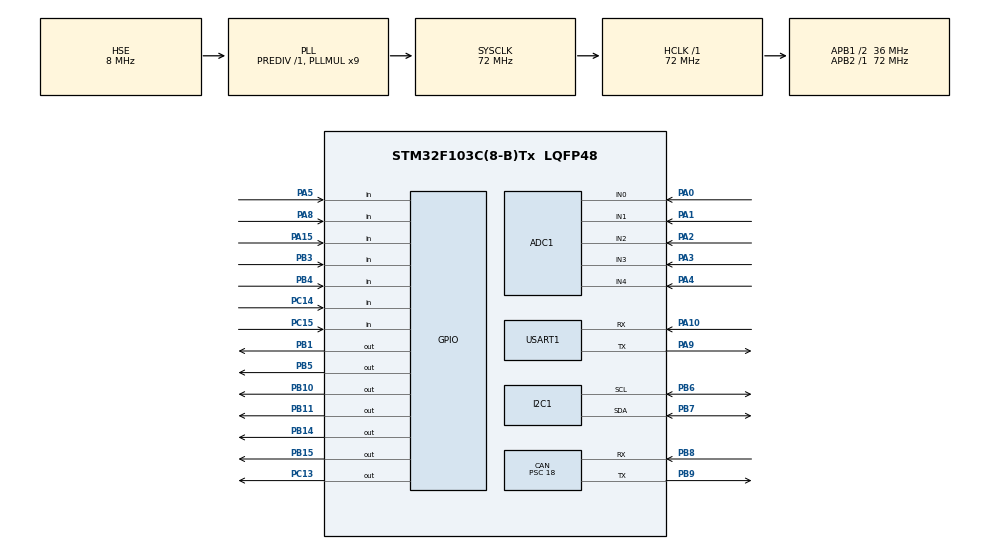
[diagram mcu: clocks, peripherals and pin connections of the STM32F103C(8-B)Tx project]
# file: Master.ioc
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ADC1.NbrOfConversionFlag=1
ADC1.master=1
CAN.ABOM=ENABLE
CAN.BS1=CAN_BS1_13TQ
CAN.BS2=CAN_BS2_2TQ
CAN.CalculateBaudRate=125000
CAN.CalculateTimeBit=8000
CAN.CalculateTimeQuantum=500.0
CAN.NART=ENABLE
CAN.Prescaler=18
CAN.TXFP=DISABLE
Mcu.Family=STM32F1
Mcu.Name=STM32F103C(8-B)Tx
Mcu.Package=LQFP48
NVIC.PriorityGroup=NVIC_PRIORITYGROUP_4
NVIC.USART1_IRQn=true\:0\:0\:false\:false\:true\:true\:true\:true
NVIC.USB_LP_CAN1_RX0_IRQn=true\:0\:0\:false\:false\:true\:true\:true\:true
PA0-WKUP.Signal=ADCx_IN0
PA1.Signal=ADCx_IN1
PA10.Mode=Asynchronous
PA10.Signal=USART1_RX
PA13.Mode=Serial_Wire
PA13.Signal=SYS_JTMS-SWDIO
PA14.Mode=Serial_Wire
PA14.Signal=SYS_JTCK-SWCLK
PA15.GPIO_PuPd=GPIO_PULLUP
PA15.Signal=GPIO_Input
PA2.Signal=ADCx_IN2
PA3.Signal=ADCx_IN3
PA4.Signal=ADCx_IN4
PA5.GPIO_PuPd=GPIO_PULLUP
PA5.Signal=GPIO_Input
PA8.GPIO_PuPd=GPIO_PULLUP
PA8.Signal=GPIO_Input
PA9.Mode=Asynchronous
PA9.Signal=USART1_TX
PB1.Signal=GPIO_Output
PB10.Signal=GPIO_Output
PB11.Signal=GPIO_Output
PB14.Signal=GPIO_Output
PB15.Signal=GPIO_Output
PB3.GPIO_PuPd=GPIO_PULLUP
PB3.Signal=GPIO_Input
PB4.GPIO_PuPd=GPIO_PULLUP
PB4.Signal=GPIO_Input
PB5.Signal=GPIO_Output
PB6.Mode=I2C
PB6.Signal=I2C1_SCL
PB7.Mode=I2C
PB7.Signal=I2C1_SDA
PB8.Mode=CAN_Activate
PB8.Signal=CAN_RX
PB9.Mode=CAN_Activate
PB9.Signal=CAN_TX
PC13-TAMPER-RTC.Signal=GPIO_Output
PC14-OSC32_IN.GPIO_PuPd=GPIO_PULLUP
PC14-OSC32_IN.Signal=GPIO_Input
PC15-OSC32_OUT.GPIO_PuPd=GPIO_PULLUP
PC15-OSC32_OUT.Signal=GPIO_Input
PD0-OSC_IN.Mode=HSE-External-Oscillator
PD0-OSC_IN.Signal=RCC_OSC_IN
PD1-OSC_OUT.Mode=HSE-External-Oscillator
PD1-OSC_OUT.Signal=RCC_OSC_OUT
ProjectManager.HeapSize=0x200
ProjectManager.StackSize=0x400
ProjectManager.TargetToolchain=MDK-ARM V5.32
RCC.ADCPresc=RCC_ADCPCLK2_DIV6
RCC.AHBFreq_Value=72000000
RCC.APB1CLKDivider=RCC_HCLK_DIV2
RCC.APB1Freq_Value=36000000
RCC.APB1TimFreq_Value=72000000
RCC.APB2Freq_Value=72000000
RCC.APB2TimFreq_Value=72000000
RCC.HCLKFreq_Value=72000000
RCC.PLLMUL=RCC_PLL_MUL9
RCC.PLLSourceVirtual=RCC_PLLSOURCE_HSE
RCC.SYSCLKFreq_VALUE=72000000
RCC.SYSCLKSource=RCC_SYSCLKSOURCE_PLLCLK
RCC.USBFreq_Value=72000000
SH.ADCx_IN0.0=ADC1_IN0,IN0
SH.ADCx_IN1.0=ADC1_IN1,IN1
SH.ADCx_IN2.0=ADC1_IN2,IN2
SH.ADCx_IN3.0=ADC1_IN3,IN3
SH.ADCx_IN4.0=ADC1_IN4,IN4
USART1.VirtualMode=VM_ASYNC
board=custom

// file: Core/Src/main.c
/* USER CODE BEGIN Header */
/** LE THANH PHAT
  ******************************************************************************
  * @file           : main.c
  * @brief          : Main program body
  ******************************************************************************
  * @attention
  *
  * Copyright (c) 2026 STMicroelectronics.
  * All rights reserved.
  *
  * This software is licensed under terms that can be found in the LICENSE file
  * in the root directory of this software component.
  * If no LICENSE file comes with this software, it is provided AS-IS.
  *
  ******************************************************************************
  */
/* USER CODE END Header */
#include "main.h"

/* USER CODE BEGIN Includes */
#include "i2c-lcd.h"
#include "stdint.h"
#include "stdio.h"
#include <stdbool.h>
/* USER CODE END Includes */

/* USER CODE BEGIN PD */

#define FAN_TEMP_ON_THRESHOLD  27.5f
#define Fan_Control_Pin        GPIO_PIN_5
#define Fan_Control_GPIO_Port  GPIOB

/* Buzzer on PB15: 1 Hz (500 ms ON / 500 ms OFF), 5 cycles per alarm. */
#define BUZZER_GPIO_PIN         GPIO_PIN_15
#define BUZZER_GPIO_PORT        GPIOB
#define BUZZER_ACTIVE_HIGH      1U
#define BUZZER_ON_MS            500U
#define BUZZER_OFF_MS           500U
#define BUZZER_CYCLE_MS         (BUZZER_ON_MS + BUZZER_OFF_MS)
#define BUZZER_REPEAT_COUNT     5U
#define BUZZER_SEQUENCE_MS      (BUZZER_CYCLE_MS * BUZZER_REPEAT_COUNT)

#define SAFETY_ALARM_DISCHARGE  (1U << 0)
#define SAFETY_ALARM_CHARGE_CUT (1U << 1)

#define CAN_ID_SLAVE1_TX        0x101U
#define CAN_ID_SLAVE2_TX        0x102U
#define CAN_ID_SLAVE3_TX        0x103U
#define CAN_ID_SLAVE1_RX        0x200U
#define CAN_ID_SLAVE2_RX        0x201U
#define CAN_ID_SLAVE3_RX        0x202U

#define MASTER_SLAVE_COUNT      3U

/* Masks for packed CAN fields (used by CAN_UnpackData)
 * CELL_MASK: 9 bits (0..8)
 * TEMP_MASK: 8 bits
 * MOS_MASK : 5 bits
 */
#define CELL_MASK 0x1FFULL
#define TEMP_MASK 0xFFULL
#define MOS_MASK  0x1FULL

/* Telemetry constants to avoid magic numbers */
#define TELEMETRY_BUF_SIZE 200
#define TOTAL_CELLS_COUNT TOTAL_CELLS

/* Current sensor removed */
/* ADC helpers for debug */
#define ADC_MAX_VALUE 4095U
#define VREF_MV 3300U
/* Current sensor constants (WCS1700) */
#define CURRENT_SENSOR_SENS_V_PER_A 0.02376f
#define CURRENT_SENSOR_ZERO_DEFAULT_MV (VREF_MV / 2U)
#define CURRENT_SENSOR_DEADBAND_A 0.1f
#define CURRENT_ADC_INDEX 4
#define CURRENT_CALIB_SAMPLES 500
/* Fast setting filter: one update every main-loop cycle, approximately 80 ms time constant. */
#define SETTINGS_FILTER_SHIFT 3U
#define SETTINGS_DEADBAND_ADC 2U
#define CELL_FILTER_SHIFT     2U

/* Setting output ranges */
#define ICHG_MAX_MA 11000U
#define VDIS_MAX_MV 4200U
#define VCHG_MAX_MV 4300U
#define IDIS_MAX_MA 41000U

/* SOC estimation constants (per-cell OCV linear mapping) */
#define SOC_OCV_MIN_MV_PER_CELL 3000U
#define SOC_OCV_MAX_MV_PER_CELL 4200U

typedef struct {
	uint8_t ButtonLeft;
	uint8_t ButtonRight;
	uint8_t SW_UART;
	uint8_t SW_Balancing;
	uint8_t SW_LCDMode;
	uint8_t SW_Load;
	uint8_t CurrentDigital;
	uint8_t ChargeState;
} DigitalInput;

typedef struct {
	uint16_t Raw_I_Discharge_Max;
	uint16_t Raw_V_Discharge_Min;
	uint16_t Raw_I_Charge_Max;
	uint16_t Raw_V_Charge_Max;
} AnalogInput;

typedef enum {
	LCD_PAGE_1 = 0,
	LCD_PAGE_2,
	LCD_PAGE_3,
	LCD_PAGE_4,
	LCD_PAGE_MAX
} LCD_Page_t;

uint8_t lcd_page = 0;
uint8_t lcd_update_flag = 1;

uint8_t Button_Left_Old = 0;
uint8_t Button_Right_Old = 0;

typedef enum {
    PRECHARGE_IDLE,
    PRECHARGE_ACTIVE,
    PRECHARGE_DONE
} PrechargeState_t;

/* Consolidated per-slave telemetry received over CAN (Frame A + Frame B) */
typedef struct {
	uint16_t cell_voltage_mV[5];   /* 5 cells in mV */
	int16_t  temperature_tenths;   /* temperature x10 (e.g. 253 = 25.3 C) */
	uint8_t  mosfet_mask;          /* 5-bit balance MOSFET status */
	uint8_t  sequence;             /* frame sequence from slave */
	uint32_t last_rx_tick;         /* HAL_GetTick() of last complete update */
	bool     data_valid;           /* true when both frames received */
	uint32_t frame_a_count;        /* Frame A received count */
	uint32_t frame_b_count;        /* Frame B received count */
} SlaveData_t;

/* USER CODE END PD */

ADC_HandleTypeDef hadc1;
DMA_HandleTypeDef hdma_adc1;

CAN_HandleTypeDef hcan;

I2C_HandleTypeDef hi2c1;

UART_HandleTypeDef huart1;

/* USER CODE BEGIN PV */

volatile uint8_t    slave_connected[3] = {0};
volatile uint8_t    new_can_data       =  0;
CAN_TxHeaderTypeDef TxHeader_Bal;
uint32_t            TxMailbox_Bal;
uint8_t             TxData_Bal[8]      = {0};

uint16_t ADC_RawData[5];
DigitalInput Digital_In;
/* Debug variables for current sensor ADC (PA4) */
volatile uint16_t debug_current_adc_raw = 0;
/* Averaged measured millivolts for PA4 (signed to allow offset corrections) */
volatile int32_t debug_current_adc_mv = 0;

/* Computed zero (mV) for current sensor; can be updated by auto-calibration */
volatile int32_t current_zero_mv = CURRENT_SENSOR_ZERO_DEFAULT_MV;

/* Filtered ADC values for user-adjustable settings (0..ADC_MAX_VALUE). */
static uint16_t filtered_adc_ichg = 0;
static uint16_t filtered_adc_vdis = 0;
static uint16_t filtered_adc_vchg = 0;
static uint16_t filtered_adc_idis = 0;
static uint8_t settings_filter_initialized = 0u;

/* Runtime adjustable millivolt offset to match a reference measurement.
 * Default computed from a recent bench measurement: actual 1509mV vs measured 1451mV -> +58mV
 * Keep as adjustable `volatile` so you can change it from the debugger at runtime.
 */
#define DEFAULT_CURRENT_ADC_MV_OFFSET ((int32_t)1509 - (int32_t)1451)
volatile int32_t debug_current_adc_mv_offset = DEFAULT_CURRENT_ADC_MV_OFFSET;
AnalogInput Analog_In;

#define TOTAL_CELLS 15

uint16_t all_cell_voltage_mV[TOTAL_CELLS] = {0};
static uint8_t cell_filter_initialized[TOTAL_CELLS] = {0};
volatile bool safety_fault = false;

CAN_FilterTypeDef sFilterConfig;

char uart_tx_debug_buf[200];
volatile uint16_t uart_tx_debug_len = 0;

volatile float    slave_temp[3]        = {0};
volatile float    temperature_max      = 0.0f;
volatile int16_t  temperature_max_tenths = 0;
volatile uint8_t  rx_mosfet_status[15] = {0};
volatile uint32_t master_rx_count      = 0;
volatile uint8_t  master_rx_slave1     = 0;
volatile uint8_t  master_rx_slave2     = 0;
volatile uint8_t  master_rx_slave3     = 0;

CAN_TxHeaderTypeDef TxHeader_Cmd;
uint32_t            TxMailbox_Cmd;
uint8_t             TxData_Cmd[8]      = {0};

volatile uint32_t slave_last_tick[3] = {0};
#define SLAVE_TIMEOUT_MS 500

/* PC13 LED blink period in ms, set by the main loop from slave connectivity
 * (100 = two slaves, 500 = one slave, 0 = solid on). Read by the CAN RX ISR. */
volatile uint32_t led_period_ms = 100U;

/* Last PC13 toggle tick and the period used at that time, shared between the
 * CAN RX ISR (blink) and LED_Status_Update() (period selection). */
volatile uint32_t led_last_toggle_tick = 0;
volatile uint32_t led_last_period_ms   = 0;

/* Last computed current (tenths of A). Inspect this in debugger for final value. */
/* Current sensor removed: no runtime variables */

/* Temporary buffers to assemble 2-frame CAN messages per slave */
volatile uint8_t got_frameA[3] = {0};
volatile uint8_t got_frameB[3] = {0};
uint16_t tmp_frameA_cells[3][4];
uint16_t tmp_frameB_cell5[3];
int16_t  tmp_frameB_temp_tenths[3];
uint8_t  tmp_frameB_mask[3];

#define CELL_VALID_MIN_MV 500U
#define CELL_VALID_MAX_MV 5000U
#define BALANCE_START_DELTA_MV 20U
#define BALANCE_STOP_DELTA_MV 3U

/* CAN diagnostics */
volatile uint32_t master_can_error            = 0;
volatile uint32_t master_tx_count             = 0;
volatile uint32_t master_rx_fifo0_count       = 0;
volatile uint32_t master_error_callback_count = 0;

/* Consolidated per-slave data: [0]=Slave1 (0x101), [1]=Slave2 (0x102) */
SlaveData_t slave_data[2] = {0};

/* USER CODE END PV */

void SystemClock_Config(void);
static void MX_GPIO_Init(void);
static void MX_DMA_Init(void);
static void MX_ADC1_Init(void);
static void MX_CAN_Init(void);
static void MX_I2C1_Init(void);
static void MX_USART1_UART_Init(void);
/* USER CODE BEGIN PFP */

/* Current sensor debug calculation: read ADC at PA4 and compute mV */
void Current_Sensor_Calc(void);

/* Calibration helpers: set offset directly or calibrate using an observed reference mV */
void Set_Current_ADC_MV_Offset(int32_t offset_mv);
void Calibrate_Current_ADC_MV(uint32_t actual_mv);

/* Current sensor API */
float CurrentSensor_GetAmps(void);
int32_t CurrentSensor_Get_mA(void);
void CurrentSensor_AutoCalibrate(void);

/* Safety control for charge/discharge based on settings and measurements */
uint8_t Safety_Control(void);
void Buzzer_Update(bool alarm_active);

void Master_Balance_Control(void);

static void Update_Temperature_Max(void);
static void LCD_WriteLine(uint8_t ddram_addr, const char *text);
static void Update_Cell_Voltage_Filter(uint8_t cell_index, uint16_t sample_mV);

void Check_Slave_Timeout(void);
void LED_Status_Update(void);
void Read_Digital_Input (void);
void Read_Analog_Input (void);
void Button_Handle (void);
void Send_Cells_UART(void);

uint16_t map(uint16_t x, uint16_t in_min, uint16_t in_max, uint16_t out_min, uint16_t out_max);

void LCD_Page1 (void);
void LCD_Page2 (void);
void LCD_Page3 (void);
void LCD_Page4 (void);
void LCD_PageSetting (void);
void LCD_Update(void);
void Precharge_Handle(void);
void Fan_Control(void);

/* SOC estimation API: returns tenths of percent (0..1000) */
uint16_t Compute_SOC_TenthsPercent(void);

/* USER CODE END PFP */

/* USER CODE BEGIN 0 */

/*
 * CAN_UnpackData: unpack an 8-byte little-endian CAN payload into typed fields.
 * - rebuilds a uint64_t 'frame' from data[0]..data[7] (little-endian: data[0] = LSB)
 * - uses shifts and masks to extract each field according to the bit layout
 * - scales cell values back to millivolts (stored unit = 10mV)
 */
void CAN_UnpackData(uint8_t data[8],
                    uint16_t *c1, uint16_t *c2, uint16_t *c3,
                    uint16_t *c4, uint16_t *c5,
                    uint8_t *temp, uint8_t *mosfet)
{
  // Rebuild 64-bit frame from little-endian byte array.
  // data[0] is least-significant byte so shift by (8*i).
  uint64_t frame = 0ULL;
  for (int i = 0; i < 8; ++i) {
    frame |= ((uint64_t)data[i]) << (8 * i);
  }

  // Extract fields using masks and shifts. Masks limit the number of bits
  // taken for each field (prevent contamination from neighbor bits).
  // CELL_MASK (0x1FF) -> 9 bits, TEMP_MASK (0xFF) -> 8 bits, MOS_MASK (0x1F) -> 5 bits
  uint64_t s1 = (frame >> 0)  & CELL_MASK; // C1: bits 0-8
  uint64_t s2 = (frame >> 9)  & CELL_MASK; // C2: bits 9-17
  uint64_t s3 = (frame >> 18) & CELL_MASK; // C3: bits 18-26
  uint64_t s4 = (frame >> 27) & CELL_MASK; // C4: bits 27-35
  uint64_t s5 = (frame >> 36) & CELL_MASK; // C5: bits 36-44
  uint64_t st = (frame >> 45) & TEMP_MASK; // Temp: bits 45-52 (8 bits)
  uint64_t sm = (frame >> 53) & MOS_MASK;  // MOSFET: bits 53-57 (5 bits)

  // Scale back: transmitter stored cell voltages in units of 10mV
  // so multiply by 10 to get mV. Use casts and guards against NULL pointers.
  if (c1) *c1 = (uint16_t)(s1 * 10ULL);
  if (c2) *c2 = (uint16_t)(s2 * 10ULL);
  if (c3) *c3 = (uint16_t)(s3 * 10ULL);
  if (c4) *c4 = (uint16_t)(s4 * 10ULL);
  if (c5) *c5 = (uint16_t)(s5 * 10ULL);

  if (temp)   *temp   = (uint8_t)st; // temp is already 8-bit
  if (mosfet) *mosfet = (uint8_t)sm; // mosfet is 5-bit value stored in LSBs
}

/**
 * Example: receive handler for HAL CAN FIFO0 pending message.
 * This shows how to call CAN_UnpackData when a frame arrives.
 */

uint16_t rx_cell_voltage[5];

static void Update_Temperature_Max(void)
{
  float max_temp = slave_temp[0];

  for (uint8_t s = 1U; s < MASTER_SLAVE_COUNT; ++s) {
    if (slave_temp[s] > max_temp) {
      max_temp = slave_temp[s];
    }
  }

  temperature_max = max_temp;
  if (max_temp >= 0.0f) {
    temperature_max_tenths = (int16_t)(max_temp * 10.0f + 0.5f);
  } else {
    temperature_max_tenths = (int16_t)(max_temp * 10.0f - 0.5f);
  }
}

static void LCD_WriteLine(uint8_t ddram_addr, const char *text)
{
  char line[21];

  snprintf(line, sizeof(line), "%-20s", text);
  lcd_send_cmd(0x80 | ddram_addr);
  lcd_send_string(line);
}

static void Update_Cell_Voltage_Filter(uint8_t cell_index, uint16_t sample_mV)
{
  int32_t error;

  if (!cell_filter_initialized[cell_index]) {
    all_cell_voltage_mV[cell_index] = sample_mV;
    cell_filter_initialized[cell_index] = 1u;
    return;
  }

  error = (int32_t)sample_mV - (int32_t)all_cell_voltage_mV[cell_index];
  all_cell_voltage_mV[cell_index] = (uint16_t)((int32_t)all_cell_voltage_mV[cell_index] +
      (error >> CELL_FILTER_SHIFT));
}

void HAL_CAN_RxFifo0MsgPendingCallback(CAN_HandleTypeDef *hcan)
{
  CAN_RxHeaderTypeDef RxHeader;
  uint8_t RxData[8];

  if (HAL_CAN_GetRxMessage(hcan, CAN_RX_FIFO0, &RxHeader, RxData) != HAL_OK)
  {
    HAL_CAN_ActivateNotification(hcan, CAN_IT_RX_FIFO0_MSG_PENDING);
    return;
  }

  master_rx_fifo0_count++;
  master_can_error = HAL_CAN_GetError(hcan);

  uint8_t idx = 0xFFU;
  if      (RxHeader.StdId == CAN_ID_SLAVE1_TX) { idx = 0U; master_rx_slave1++; }
  else if (RxHeader.StdId == CAN_ID_SLAVE2_TX) { idx = 1U; master_rx_slave2++; }
  else if (RxHeader.StdId == CAN_ID_SLAVE3_TX) { idx = 2U; master_rx_slave3++; }
  else {
    HAL_CAN_ActivateNotification(hcan, CAN_IT_RX_FIFO0_MSG_PENDING);
    return;
  }

  /* Mark slave present and timestamp */
  slave_connected[idx] = 1;
  slave_last_tick[idx] = HAL_GetTick();
  master_rx_count++;

  uint8_t base = idx * 5;

  /* Distinguish the two-frame protocol using DLC */
  if (RxHeader.DLC == 8)
  {
    /* Frame A: four uint16_t cell voltages (little-endian) */
    uint16_t max_val = 0;
    for (int i = 0; i < 4; i++) {
      tmp_frameA_cells[idx][i] = (uint16_t)(RxData[2*i] | (RxData[2*i+1] << 8));
      if (tmp_frameA_cells[idx][i] > max_val) max_val = tmp_frameA_cells[idx][i];
    }
    for (int i = 0; i < 4; i++) {
      if (tmp_frameA_cells[idx][i] < CELL_VALID_MIN_MV ||
          tmp_frameA_cells[idx][i] > CELL_VALID_MAX_MV) {
        got_frameA[idx] = 0;
        HAL_CAN_ActivateNotification(hcan, CAN_IT_RX_FIFO0_MSG_PENDING);
        return;
      }
    }
    /* If values look 10x too large (e.g. 39990 instead of 3999), normalize */
    if (max_val > 15000) {
      for (int i = 0; i < 4; i++)
        tmp_frameA_cells[idx][i] = tmp_frameA_cells[idx][i] / 10;
    }
    if (idx < 2) {
      for (int i = 0; i < 4; i++)
        slave_data[idx].cell_voltage_mV[i] = tmp_frameA_cells[idx][i];
      slave_data[idx].frame_a_count++;
    }
    got_frameA[idx] = 1;
  }
  else
  {
    /* Frame B: cell5 (u16), temp in tenths (int16), mask (u8), seq (u8 optional)
     * Expected at least 5 bytes (we use first 6 if present)
     */
    tmp_frameB_cell5[idx] = (uint16_t)(RxData[0] | (RxData[1] << 8));
    tmp_frameB_temp_tenths[idx] = (int16_t)(RxData[2] | (RxData[3] << 8));
    tmp_frameB_mask[idx] = RxData[4];

    if (tmp_frameB_cell5[idx] < CELL_VALID_MIN_MV ||
        tmp_frameB_cell5[idx] > CELL_VALID_MAX_MV) {
      got_frameB[idx] = 0;
      HAL_CAN_ActivateNotification(hcan, CAN_IT_RX_FIFO0_MSG_PENDING);
      return;
    }

    /* Update per-cell mosfet status */
    for (int i = 0; i < 5; i++)
      rx_mosfet_status[base + i] = (tmp_frameB_mask[idx] >> i) & 0x01;

    /* If cell5 looks 10x too large, normalize it */
    if (tmp_frameB_cell5[idx] > 15000) tmp_frameB_cell5[idx] = tmp_frameB_cell5[idx] / 10;

    /* Store temperature as float degrees (tenths -> °C) */
    slave_temp[idx] = ((float)tmp_frameB_temp_tenths[idx]) / 10.0f;
    Update_Temperature_Max();
    if (idx < 2) {
      slave_data[idx].cell_voltage_mV[4] = tmp_frameB_cell5[idx];
      slave_data[idx].temperature_tenths = tmp_frameB_temp_tenths[idx];
      slave_data[idx].mosfet_mask        = tmp_frameB_mask[idx];
      slave_data[idx].sequence           = RxData[5];
      slave_data[idx].frame_b_count++;
    }
    got_frameB[idx] = 1;
  }

  /* If we've received both halves for this slave, assemble into final buffers */
  if (got_frameA[idx] && got_frameB[idx]) {
    if (idx < 2) {
      slave_data[idx].last_rx_tick = HAL_GetTick();
      slave_data[idx].data_valid = true;
    }
    for (int i = 0; i < 4; i++)
      Update_Cell_Voltage_Filter((uint8_t)(base + i), tmp_frameA_cells[idx][i]);
    Update_Cell_Voltage_Filter((uint8_t)(base + 4), tmp_frameB_cell5[idx]);

    /* reset assembly flags */
    got_frameA[idx] = 0;
    got_frameB[idx] = 0;

    /* indicate new complete data set */
    new_can_data = 1;

    /* Blink PC13 at led_period_ms (ISR-driven, so timing is independent of the
     * slow main loop). Runs on every complete frame pair while data flows. */
    uint32_t now_tick = HAL_GetTick();
    if (led_period_ms > 0U &&
        (now_tick - led_last_toggle_tick) >= led_period_ms) {
      HAL_GPIO_TogglePin(GPIOC, GPIO_PIN_13);
      led_last_toggle_tick = now_tick;
      led_last_period_ms    = led_period_ms;
    }
  }
  HAL_CAN_ActivateNotification(hcan, CAN_IT_RX_FIFO0_MSG_PENDING);
}

void HAL_CAN_ErrorCallback(CAN_HandleTypeDef *hcan)
{
  master_error_callback_count++;
  master_can_error = HAL_CAN_GetError(hcan);
}

/* USER CODE END 0 */

int main(void)
{

  /* MCU Configuration--------------------------------------------------------*/

  /* Reset of all peripherals, Initializes the Flash interface and the Systick. */
  HAL_Init();

  /* Configure the system clock */
  SystemClock_Config();

  /* Initialize all configured peripherals */
  MX_GPIO_Init();
  MX_DMA_Init();
  MX_ADC1_Init();
  MX_CAN_Init();
  MX_I2C1_Init();
  MX_USART1_UART_Init();
  /* USER CODE BEGIN 2 */

	TxHeader_Bal.DLC = 8;
	TxHeader_Bal.IDE = CAN_ID_STD;
	TxHeader_Bal.RTR = CAN_RTR_DATA;
  TxHeader_Bal.StdId = CAN_ID_SLAVE1_RX;

  HAL_ADC_Start_DMA(&hadc1, (uint32_t*) ADC_RawData, 5);
  /* Start a brief auto-calibration for current sensor zero point */
  CurrentSensor_AutoCalibrate();

  HAL_CAN_Start(&hcan);

  /* Accept only slave telemetry IDs: Slave1 (0x101), Slave2 (0x102), Slave3 (0x103).
   * Exact 11-bit mask match rejects the master's own TX and any bus noise.
   * Reception uses FIFO0, synchronized with the slave nodes. */
  sFilterConfig.FilterActivation     = CAN_FILTER_ENABLE;
  sFilterConfig.FilterFIFOAssignment = CAN_FILTER_FIFO0;
  sFilterConfig.FilterMode           = CAN_FILTERMODE_IDMASK;
  sFilterConfig.FilterScale          = CAN_FILTERSCALE_32BIT;
  sFilterConfig.FilterIdLow          = 0x0000;
  sFilterConfig.FilterMaskIdLow      = 0x0000;

  sFilterConfig.FilterBank           = 0;
  sFilterConfig.FilterIdHigh         = CAN_ID_SLAVE1_TX << 5;
  sFilterConfig.FilterMaskIdHigh     = 0x7FF << 5;
  HAL_CAN_ConfigFilter(&hcan, &sFilterConfig);

  sFilterConfig.FilterBank           = 1;
  sFilterConfig.FilterIdHigh         = CAN_ID_SLAVE2_TX << 5;
  HAL_CAN_ConfigFilter(&hcan, &sFilterConfig);

  sFilterConfig.FilterBank           = 2;
  sFilterConfig.FilterIdHigh         = CAN_ID_SLAVE3_TX << 5;
  HAL_CAN_ConfigFilter(&hcan, &sFilterConfig);

  HAL_CAN_ActivateNotification(&hcan, CAN_IT_RX_FIFO0_MSG_PENDING | CAN_IT_ERROR);

	TxHeader_Cmd.DLC   = 8;
	TxHeader_Cmd.IDE   = CAN_ID_STD;
	TxHeader_Cmd.RTR   = CAN_RTR_DATA;
  TxHeader_Cmd.StdId = CAN_ID_SLAVE1_RX;

  lcd_init();
  /* Intro screen 1: title (3s) */
  lcd_send_cmd(0x80|0x00);
  lcd_send_string("Distributed Battery");
  lcd_send_cmd(0x80|0x41);
  lcd_send_string("Management System");
  lcd_send_cmd(0x80|0x14);
  lcd_send_string("for Electric Vehicle");
  lcd_send_cmd(0x80|0x54);
  lcd_send_string("                    ");
  HAL_Delay(3000);
  lcd_clear();
  /* Intro screen 2: advisor & students (3s) */
  lcd_send_cmd(0x80|0x01);
  /* Replaced for the 2026 event banner: lcd_send_string("Dr. Le Thanh Phuc"); */
  lcd_send_string("Eureka 2026");
  lcd_send_cmd(0x80|0x45);
  lcd_send_string("Students:");
  lcd_send_cmd(0x80|0x17);
  lcd_send_string("Pham Minh Duc");
  lcd_send_cmd(0x80|0x57);
  lcd_send_string("Le Thanh Phat");
  HAL_Delay(3000);
  lcd_clear();

  /* USER CODE END 2 */

  /* Infinite loop */
  /* USER CODE BEGIN WHILE */
	while (1)
	{
    Read_Digital_Input();
    Precharge_Handle();
    Button_Handle();
    Read_Analog_Input();
    /* Enforce charge/discharge safety after analog/settings update */
    uint8_t alarm_causes = Safety_Control();
    Buzzer_Update(alarm_causes != 0U);
    Check_Slave_Timeout();
    Fan_Control();
    LED_Status_Update();

    if (new_can_data) {
        new_can_data = 0;
        Master_Balance_Control();
        Send_Cells_UART();
        lcd_update_flag = 1;
    }

    /* Periodic UART telemetry: non-blocking, every 700 ms */
    {
      static uint32_t uart_tick = 0;
      if ((HAL_GetTick() - uart_tick) >= 700U) {
        uart_tick = HAL_GetTick();
        Send_Cells_UART(); /* Send_Cells_UART is non-blocking (uses IT) and checks UART state */
      }
    }

    static uint32_t lcd_tick = 0;
    uint32_t lcd_period_ms = Digital_In.SW_LCDMode ? 100U : 500U;
    if (HAL_GetTick() - lcd_tick >= lcd_period_ms) {
        lcd_tick = HAL_GetTick();
        lcd_update_flag = 1;
    }

    LCD_Update();
    HAL_Delay(20);

    /* USER CODE END WHILE */

  }
}

void SystemClock_Config(void)
{
  RCC_OscInitTypeDef RCC_OscInitStruct = {0};
  RCC_ClkInitTypeDef RCC_ClkInitStruct = {0};
  RCC_PeriphCLKInitTypeDef PeriphClkInit = {0};

  /** Initializes the RCC Oscillators according to the specified parameters
  * in the RCC_OscInitTypeDef structure.
  */
  RCC_OscInitStruct.OscillatorType = RCC_OSCILLATORTYPE_HSE;
  RCC_OscInitStruct.HSEState = RCC_HSE_ON;
  RCC_OscInitStruct.HSEPredivValue = RCC_HSE_PREDIV_DIV1;
  RCC_OscInitStruct.HSIState = RCC_HSI_ON;
  RCC_OscInitStruct.PLL.PLLState = RCC_PLL_ON;
  RCC_OscInitStruct.PLL.PLLSource = RCC_PLLSOURCE_HSE;
  RCC_OscInitStruct.PLL.PLLMUL = RCC_PLL_MUL9;
  if (HAL_RCC_OscConfig(&RCC_OscInitStruct) != HAL_OK)
  {
    Error_Handler();
  }

  /** Initializes the CPU, AHB and APB buses clocks
  */
  RCC_ClkInitStruct.ClockType = RCC_CLOCKTYPE_HCLK|RCC_CLOCKTYPE_SYSCLK
                              |RCC_CLOCKTYPE_PCLK1|RCC_CLOCKTYPE_PCLK2;
  RCC_ClkInitStruct.SYSCLKSource = RCC_SYSCLKSOURCE_PLLCLK;
  RCC_ClkInitStruct.AHBCLKDivider = RCC_SYSCLK_DIV1;
  RCC_ClkInitStruct.APB1CLKDivider = RCC_HCLK_DIV2;
  RCC_ClkInitStruct.APB2CLKDivider = RCC_HCLK_DIV1;

  if (HAL_RCC_ClockConfig(&RCC_ClkInitStruct, FLASH_LATENCY_2) != HAL_OK)
  {
    Error_Handler();
  }
  PeriphClkInit.PeriphClockSelection = RCC_PERIPHCLK_ADC;
  PeriphClkInit.AdcClockSelection = RCC_ADCPCLK2_DIV6;
  if (HAL_RCCEx_PeriphCLKConfig(&PeriphClkInit) != HAL_OK)
  {
    Error_Handler();
  }
}

static void MX_ADC1_Init(void)
{

  ADC_ChannelConfTypeDef sConfig = {0};

  /** Common config
  */
  hadc1.Instance = ADC1;
  hadc1.Init.ScanConvMode = ADC_SCAN_ENABLE;
  hadc1.Init.ContinuousConvMode = ENABLE;
  hadc1.Init.DiscontinuousConvMode = DISABLE;
  hadc1.Init.ExternalTrigConv = ADC_SOFTWARE_START;
  hadc1.Init.DataAlign = ADC_DATAALIGN_RIGHT;
  hadc1.Init.NbrOfConversion = 5;
  if (HAL_ADC_Init(&hadc1) != HAL_OK)
  {
    Error_Handler();
  }

  /** Configure Regular Channel
  */
  sConfig.Channel = ADC_CHANNEL_0;
  sConfig.Rank = ADC_REGULAR_RANK_1;
  sConfig.SamplingTime = ADC_SAMPLETIME_71CYCLES_5;
  if (HAL_ADC_ConfigChannel(&hadc1, &sConfig) != HAL_OK)
  {
    Error_Handler();
  }

  /** Configure Regular Channel
  */
  sConfig.Channel = ADC_CHANNEL_1;
  sConfig.Rank = ADC_REGULAR_RANK_2;
  if (HAL_ADC_ConfigChannel(&hadc1, &sConfig) != HAL_OK)
  {
    Error_Handler();
  }

  /** Configure Regular Channel
  */
  sConfig.Channel = ADC_CHANNEL_2;
  sConfig.Rank = ADC_REGULAR_RANK_3;
  if (HAL_ADC_ConfigChannel(&hadc1, &sConfig) != HAL_OK)
  {
    Error_Handler();
  }

  /** Configure Regular Channel
  */
  sConfig.Channel = ADC_CHANNEL_3;
  sConfig.Rank = ADC_REGULAR_RANK_4;
  if (HAL_ADC_ConfigChannel(&hadc1, &sConfig) != HAL_OK)
  {
    Error_Handler();
  }

  /** Configure Regular Channel
  */
  sConfig.Channel = ADC_CHANNEL_4;
  sConfig.Rank = ADC_REGULAR_RANK_5;
  sConfig.SamplingTime = ADC_SAMPLETIME_71CYCLES_5;
  if (HAL_ADC_ConfigChannel(&hadc1, &sConfig) != HAL_OK)
  {
    Error_Handler();
  }

}

static void MX_CAN_Init(void)
{

  hcan.Instance = CAN1;
  hcan.Init.Prescaler = 18;
  hcan.Init.Mode = CAN_MODE_NORMAL;
  hcan.Init.SyncJumpWidth = CAN_SJW_1TQ;
  hcan.Init.TimeSeg1 = CAN_BS1_13TQ;
  hcan.Init.TimeSeg2 = CAN_BS2_2TQ;
  hcan.Init.TimeTriggeredMode = DISABLE;
  hcan.Init.AutoBusOff = ENABLE;
  hcan.Init.AutoWakeUp = DISABLE;
  hcan.Init.AutoRetransmission = ENABLE;
  hcan.Init.ReceiveFifoLocked = DISABLE;
  hcan.Init.TransmitFifoPriority = DISABLE;
  if (HAL_CAN_Init(&hcan) != HAL_OK)
  {
    Error_Handler();
  }

}

static void MX_I2C1_Init(void)
{

  hi2c1.Instance = I2C1;
  hi2c1.Init.ClockSpeed = 100000;
  hi2c1.Init.DutyCycle = I2C_DUTYCYCLE_2;
  hi2c1.Init.OwnAddress1 = 0;
  hi2c1.Init.AddressingMode = I2C_ADDRESSINGMODE_7BIT;
  hi2c1.Init.DualAddressMode = I2C_DUALADDRESS_DISABLE;
  hi2c1.Init.OwnAddress2 = 0;
  hi2c1.Init.GeneralCallMode = I2C_GENERALCALL_DISABLE;
  hi2c1.Init.NoStretchMode = I2C_NOSTRETCH_DISABLE;
  if (HAL_I2C_Init(&hi2c1) != HAL_OK)
  {
    Error_Handler();
  }

}

static void MX_USART1_UART_Init(void)
{

  huart1.Instance = USART1;
  huart1.Init.BaudRate = 115200;
  huart1.Init.WordLength = UART_WORDLENGTH_8B;
  huart1.Init.StopBits = UART_STOPBITS_1;
  huart1.Init.Parity = UART_PARITY_NONE;
  huart1.Init.Mode = UART_MODE_TX_RX;
  huart1.Init.HwFlowCtl = UART_HWCONTROL_NONE;
  huart1.Init.OverSampling = UART_OVERSAMPLING_16;
  if (HAL_UART_Init(&huart1) != HAL_OK)
  {
    Error_Handler();
  }

}

static void MX_DMA_Init(void)
{
  /* DMA controller clock enable */
  __HAL_RCC_DMA1_CLK_ENABLE();

  /* DMA interrupt init */
  HAL_NVIC_SetPriority(DMA1_Channel1_IRQn, 0, 0);
  HAL_NVIC_EnableIRQ(DMA1_Channel1_IRQn);
}

static void MX_GPIO_Init(void)
{
  GPIO_InitTypeDef GPIO_InitStruct = {0};

  /* GPIO Ports Clock Enable */
  __HAL_RCC_GPIOC_CLK_ENABLE();
  __HAL_RCC_GPIOD_CLK_ENABLE();
  __HAL_RCC_GPIOA_CLK_ENABLE();
  __HAL_RCC_GPIOB_CLK_ENABLE();

  /*Configure GPIO pin Output Level */
  HAL_GPIO_WritePin(GPIOC, GPIO_PIN_13, GPIO_PIN_RESET);

  /*Configure GPIO pin Output Level */
  HAL_GPIO_WritePin(GPIOB, GPIO_PIN_1|GPIO_PIN_10|GPIO_PIN_11|GPIO_PIN_14
                          |GPIO_PIN_15|GPIO_PIN_5, GPIO_PIN_RESET);

  /*Configure GPIO pin : PC13 */
  GPIO_InitStruct.Pin = GPIO_PIN_13;
  GPIO_InitStruct.Mode = GPIO_MODE_OUTPUT_PP;
  GPIO_InitStruct.Pull = GPIO_NOPULL;
  GPIO_InitStruct.Speed = GPIO_SPEED_FREQ_LOW;
  HAL_GPIO_Init(GPIOC, &GPIO_InitStruct);

  /*Configure GPIO pins : PC14 PC15 */
  GPIO_InitStruct.Pin = GPIO_PIN_14|GPIO_PIN_15;
  GPIO_InitStruct.Mode = GPIO_MODE_INPUT;
  GPIO_InitStruct.Pull = GPIO_PULLUP;
  HAL_GPIO_Init(GPIOC, &GPIO_InitStruct);

  /*Configure GPIO pins : PA5 PA8 PA15 */
  GPIO_InitStruct.Pin = GPIO_PIN_5|GPIO_PIN_8|GPIO_PIN_15;
  GPIO_InitStruct.Mode = GPIO_MODE_INPUT;
  GPIO_InitStruct.Pull = GPIO_PULLUP;
  HAL_GPIO_Init(GPIOA, &GPIO_InitStruct);

  /*Configure GPIO pins : PB1 PB10 PB11 PB14
                           PB15 PB5 */
  GPIO_InitStruct.Pin = GPIO_PIN_1|GPIO_PIN_10|GPIO_PIN_11|GPIO_PIN_14
                          |GPIO_PIN_15|GPIO_PIN_5;
  GPIO_InitStruct.Mode = GPIO_MODE_OUTPUT_PP;
  GPIO_InitStruct.Pull = GPIO_NOPULL;
  GPIO_InitStruct.Speed = GPIO_SPEED_FREQ_LOW;
  HAL_GPIO_Init(GPIOB, &GPIO_InitStruct);

  /*Configure GPIO pins : PB3 PB4 */
  GPIO_InitStruct.Pin = GPIO_PIN_3|GPIO_PIN_4;
  GPIO_InitStruct.Mode = GPIO_MODE_INPUT;
  GPIO_InitStruct.Pull = GPIO_PULLUP;
  HAL_GPIO_Init(GPIOB, &GPIO_InitStruct);

}

/* USER CODE BEGIN 4 */

void Master_Balance_Control(void)
{
    /* Persistent per-cell hysteresis state, one bit per cell. This prevents
       the balance FET from chattering while a cell remains in the window. */
    static uint16_t active_cells = 0U;

    if (!Digital_In.SW_Balancing) {
        active_cells = 0U;
        for (int s = 0; s < 3; s++) {
            if (!slave_connected[s]) continue;
            TxData_Bal[0] = 0; // enable = 0
            TxData_Bal[1] = 0; // mask = 0
            TxHeader_Bal.StdId = (uint32_t)CAN_ID_SLAVE1_RX + (uint32_t)s;
            if (HAL_CAN_GetTxMailboxesFreeLevel(&hcan) > 0) {
                if (HAL_CAN_AddTxMessage(&hcan, &TxHeader_Bal, TxData_Bal, &TxMailbox_Bal) == HAL_OK)
                    master_tx_count++;
            }
        }
        return;
    }

    uint16_t global_min_mV = 65535;
    uint8_t valid_cell_count = 0U;

    /* Find the minimum voltage across valid cells. */
    for (int i = 0; i < TOTAL_CELLS; i++) {
        uint16_t v_mV = all_cell_voltage_mV[i];
        if (v_mV < CELL_VALID_MIN_MV) continue;

        valid_cell_count++;
        if (v_mV < global_min_mV)
            global_min_mV = v_mV;
    }

    if (valid_cell_count == 0U) {
        active_cells = 0U;
        for (int s = 0; s < 3; s++) {
            if (!slave_connected[s]) continue;
            TxData_Bal[0] = 1;
            TxData_Bal[1] = 0; // mask = 0
            TxHeader_Bal.StdId = (uint32_t)CAN_ID_SLAVE1_RX + (uint32_t)s;
            if (HAL_CAN_GetTxMailboxesFreeLevel(&hcan) > 0) {
                if (HAL_CAN_AddTxMessage(&hcan, &TxHeader_Bal, TxData_Bal, &TxMailbox_Bal) == HAL_OK)
                    master_tx_count++;
            }
        }
        return;
    }

    /* Master soft protection: balancing is only allowed below 55 C. Clear
       active requests while overheated so balancing restarts above 20 mV. */
    if (temperature_max >= 55.0f) {
        active_cells = 0U;
    } else {
        for (int i = 0; i < TOTAL_CELLS; i++) {
            uint16_t v_mV = all_cell_voltage_mV[i];
            uint16_t cell_bit = (uint16_t)(1U << i);

            if (v_mV < CELL_VALID_MIN_MV) {
                active_cells &= (uint16_t)~cell_bit;
                continue;
            }

            if ((active_cells & cell_bit) != 0U) {
                /* Keep balancing until this cell is strictly below the stop window. */
                if (v_mV < (global_min_mV + BALANCE_STOP_DELTA_MV))
                    active_cells &= (uint16_t)~cell_bit;
            } else if (v_mV > (global_min_mV + BALANCE_START_DELTA_MV)) {
                active_cells |= cell_bit;
            }
        }
    }

    // Build the discharge mask for each slave from retained hysteresis state.
    for (int s = 0; s < 3; s++) {
        if (!slave_connected[s]) continue;

        uint8_t mask = 0;
        uint8_t base = s * 5;

        for (int i = 0; i < 5; i++) {
            if ((active_cells & (uint16_t)(1U << (base + i))) != 0U)
                mask |= (uint8_t)(1U << i);
        }

        TxData_Bal[0] = 1;    // enable = 1
        TxData_Bal[1] = mask; // balance mask
        TxHeader_Bal.StdId = (uint32_t)CAN_ID_SLAVE1_RX + (uint32_t)s;

        if (HAL_CAN_GetTxMailboxesFreeLevel(&hcan) > 0) {
            if (HAL_CAN_AddTxMessage(&hcan, &TxHeader_Bal, TxData_Bal, &TxMailbox_Bal) == HAL_OK)
                master_tx_count++;
        }
    }
}

void Check_Slave_Timeout(void)
{
    uint32_t now = HAL_GetTick();
    for (int s = 0; s < 3; s++) {
        if (slave_last_tick[s] > 0 &&
            (now - slave_last_tick[s]) > SLAVE_TIMEOUT_MS) {
            uint8_t base = s * 5;
            for (int i = 0; i < 5; i++) {
                all_cell_voltage_mV[base + i] = 0;
                cell_filter_initialized[base + i] = 0u;
            }
            slave_temp[s]      = 0;
            slave_last_tick[s] = 0;
        }
    }
  Update_Temperature_Max();
}

/* PC13 LED status controller (period selection only; the actual toggling is
 * done by the CAN RX ISR at led_period_ms).
 * - 0 active slaves: LED OFF (no valid CAN data).
 * - 1 active slave  : toggle state every 500 ms.
 * - 2 active slaves : toggle state every 20 ms.
 * Connectivity is judged by the last RX timestamp so a lost slave is
 * reflected immediately by the timeout in Check_Slave_Timeout().
 */
void LED_Status_Update(void)
{
    uint32_t now = HAL_GetTick();
    uint32_t period_ms;
    uint8_t  active = 0;

    for (uint8_t s = 0; s < 2; s++) {
        if (slave_last_tick[s] > 0 &&
            (now - slave_last_tick[s]) <= SLAVE_TIMEOUT_MS) {
            active++;
        }
    }

    if (active == 0) {
        /* No data: force LED OFF. PC13 LED is active-low, 0 = off.
         * led_period_ms = 0 disables ISR toggling. */
        led_period_ms = 0U;
        HAL_GPIO_WritePin(GPIOC, GPIO_PIN_13, 0);
        led_last_toggle_tick = now;
        led_last_period_ms   = 0U;
        return;
    }
    else if (active == 1) {
        period_ms = 500U;
    }
    else {
        period_ms = 20U;
    }

    /* Reset the ISR blink phase when the rate changes so the LED does not
     * appear to hold a stale edge after a connectivity change. */
    if (led_last_period_ms != period_ms) {
        led_last_toggle_tick = now;
        led_last_period_ms   = period_ms;
    }
    led_period_ms = period_ms;
}

/* Current sensor removed: no measurement function */

void Precharge_Handle(void)
{
    static PrechargeState_t precharge_state = PRECHARGE_IDLE;
    static uint32_t precharge_timer = 0;

    switch (precharge_state)
    {
        case PRECHARGE_IDLE:
            if (Digital_In.SW_Load && !safety_fault)
            {
                HAL_GPIO_WritePin(GPIOB, GPIO_PIN_1,  GPIO_PIN_SET);
                HAL_GPIO_WritePin(GPIOB, GPIO_PIN_10, GPIO_PIN_RESET);
                HAL_GPIO_WritePin(GPIOB, GPIO_PIN_11, GPIO_PIN_SET);

                precharge_timer = HAL_GetTick();
                precharge_state = PRECHARGE_ACTIVE;
            }
            else
            {
                HAL_GPIO_WritePin(GPIOB, GPIO_PIN_1,  GPIO_PIN_RESET);
                HAL_GPIO_WritePin(GPIOB, GPIO_PIN_10, GPIO_PIN_RESET);
                HAL_GPIO_WritePin(GPIOB, GPIO_PIN_11, GPIO_PIN_RESET);
            }
            break;

        case PRECHARGE_ACTIVE:
            if (safety_fault)
            {
                HAL_GPIO_WritePin(GPIOB, GPIO_PIN_1,  GPIO_PIN_RESET);
                HAL_GPIO_WritePin(GPIOB, GPIO_PIN_10, GPIO_PIN_RESET);
                HAL_GPIO_WritePin(GPIOB, GPIO_PIN_11, GPIO_PIN_RESET);
                precharge_state = PRECHARGE_IDLE;
            }
            else if (HAL_GetTick() - precharge_timer >= 3000)
            {
                HAL_GPIO_WritePin(GPIOB, GPIO_PIN_1,  GPIO_PIN_RESET);
                HAL_GPIO_WritePin(GPIOB, GPIO_PIN_10, GPIO_PIN_SET);

                precharge_state = PRECHARGE_DONE;
            }
            break;

        case PRECHARGE_DONE:
            if (!Digital_In.SW_Load || safety_fault)
            {
                HAL_GPIO_WritePin(GPIOB, GPIO_PIN_1,  GPIO_PIN_RESET);
                HAL_GPIO_WritePin(GPIOB, GPIO_PIN_10, GPIO_PIN_RESET);
                HAL_GPIO_WritePin(GPIOB, GPIO_PIN_11, GPIO_PIN_RESET);

                precharge_state = PRECHARGE_IDLE;
            }
            break;
    }
}
void Read_Digital_Input (void) {
	Digital_In.ButtonLeft = 	 !HAL_GPIO_ReadPin(GPIOA, GPIO_PIN_8);
	Digital_In.ButtonRight =     !HAL_GPIO_ReadPin(GPIOB, GPIO_PIN_4);

	Digital_In.SW_Balancing =   !HAL_GPIO_ReadPin(GPIOB, GPIO_PIN_3);
	Digital_In.SW_UART =        !HAL_GPIO_ReadPin(GPIOA, GPIO_PIN_15);

	Digital_In.SW_LCDMode =     !HAL_GPIO_ReadPin(GPIOC, GPIO_PIN_14);
	Digital_In.SW_Load =        !HAL_GPIO_ReadPin(GPIOC, GPIO_PIN_15);

	Digital_In.ChargeState = !HAL_GPIO_ReadPin(GPIOA, GPIO_PIN_5);
}
void Read_Analog_Input (void) {
  Analog_In.Raw_I_Discharge_Max = ADC_RawData [0]; /* PA0 CH0 = Current Discharge Max (Idis) pot */
  Analog_In.Raw_V_Discharge_Min = ADC_RawData [1]; /* PA1 CH1 = Vdis_min pot */
  Analog_In.Raw_I_Charge_Max    = ADC_RawData [2]; /* PA2 CH2 = Current Charge Max (Ichg) pot */
  Analog_In.Raw_V_Charge_Max    = ADC_RawData [3]; /* PA3 CH3 = Voltage Charge Max (Vchg) pot */

  /* Update debug ADC/voltage for current sensor (PA4) */
  Current_Sensor_Calc();
  /* A fast EMA removes ADC noise without making adjustment feel delayed. */
  {
    uint16_t *filtered[4] = {&filtered_adc_ichg, &filtered_adc_vdis,
                              &filtered_adc_vchg, &filtered_adc_idis};
    uint16_t raw[4] = {Analog_In.Raw_I_Charge_Max, Analog_In.Raw_V_Discharge_Min,
                       Analog_In.Raw_V_Charge_Max, Analog_In.Raw_I_Discharge_Max};

    for (uint8_t ch = 0; ch < 4; ch++) {
      int32_t error = (int32_t)raw[ch] - (int32_t)*filtered[ch];
      if (!settings_filter_initialized)
        *filtered[ch] = raw[ch];
      else if (error > (int32_t)SETTINGS_DEADBAND_ADC ||
               error < -(int32_t)SETTINGS_DEADBAND_ADC)
        *filtered[ch] = (uint16_t)((int32_t)*filtered[ch] +
            (error >> SETTINGS_FILTER_SHIFT));
    }
    settings_filter_initialized = 1u;
  }
}

/* Safety control: set PB14, PB1, PB10, PB11 according to current and cell voltages
 * - Discharge fault (undervoltage or |current| > Idis): PB1/PB10/PB11 LOW
 * - PB14 (Charge Control, active HIGH=cut): LOW when ChargeState==0 (no charger,
 *   avoid power drain); HIGH only when ChargeState==1 and (Vmax > Vchg or I > Ichg)
 */
uint8_t Safety_Control(void)
{
  uint8_t alarms = 0U;
  int32_t cur_mA = CurrentSensor_Get_mA();

  uint32_t Ichg_mA = (uint32_t)map(filtered_adc_ichg, 0, ADC_MAX_VALUE, 0, ICHG_MAX_MA);
  uint32_t Vdis_mV = (uint32_t)map(filtered_adc_vdis, 0, ADC_MAX_VALUE, 0, VDIS_MAX_MV);
  uint32_t Vchg_mV = (uint32_t)map(filtered_adc_vchg, 0, ADC_MAX_VALUE, 0, VCHG_MAX_MV);
  uint32_t Idis_mA = (uint32_t)map(filtered_adc_idis, 0, ADC_MAX_VALUE, 0, IDIS_MAX_MA);

  bool any_gt_vchg = false;
  bool any_lt_vdis = false;
  for (int i = 0; i < TOTAL_CELLS; ++i) {
    uint16_t v = all_cell_voltage_mV[i];
    if (v > Vchg_mV) any_gt_vchg = true;
    if (v > 500U && v < Vdis_mV) any_lt_vdis = true;
  }

  /* Discharge fault: undervoltage or absolute overcurrent discharge
   * (discharge current is negative, use |cur_mA| for Idis comparison).
   * Controls PB1/PB10/PB11 (precharge + main contactor + charge relay). */
  bool discharge_fault = any_lt_vdis ||
                         (cur_mA > (int32_t)Idis_mA) ||
                         (cur_mA < -(int32_t)Idis_mA);
  safety_fault = discharge_fault;
  if (discharge_fault) {
    alarms |= SAFETY_ALARM_DISCHARGE;
    HAL_GPIO_WritePin(GPIOB, GPIO_PIN_1,  GPIO_PIN_RESET);
    HAL_GPIO_WritePin(GPIOB, GPIO_PIN_10, GPIO_PIN_RESET);
    HAL_GPIO_WritePin(GPIOB, GPIO_PIN_11, GPIO_PIN_RESET);
  }

  /* PB14: Charge Control (active HIGH = cut charging).
   * When charger not connected (ChargeState==0, PA5==1), keep LOW to avoid
   * power drain. Only assert HIGH to cut when charging is active but a
   * charge fault (overvoltage or overcurrent) exists. */
  bool charge_cut = false;
  if (!Digital_In.ChargeState) {
    HAL_GPIO_WritePin(GPIOB, GPIO_PIN_14, GPIO_PIN_RESET);
  } else if (any_gt_vchg || (cur_mA > (int32_t)Ichg_mA)) {
    HAL_GPIO_WritePin(GPIOB, GPIO_PIN_14, GPIO_PIN_SET);
    charge_cut = true;
  } else {
    HAL_GPIO_WritePin(GPIOB, GPIO_PIN_14, GPIO_PIN_RESET);
  }
  if (charge_cut) {
    alarms |= SAFETY_ALARM_CHARGE_CUT;
  }

  return alarms;
}

static void Buzzer_Set(bool on)
{
#if BUZZER_ACTIVE_HIGH
  HAL_GPIO_WritePin(BUZZER_GPIO_PORT, BUZZER_GPIO_PIN,
                    on ? GPIO_PIN_SET : GPIO_PIN_RESET);
#else
  HAL_GPIO_WritePin(BUZZER_GPIO_PORT, BUZZER_GPIO_PIN,
                    on ? GPIO_PIN_RESET : GPIO_PIN_SET);
#endif
}

/* Sound a 1 Hz, 5-cycle alarm on each rising edge of the aggregated fault. */
void Buzzer_Update(bool alarm_active)
{
  static bool     prev_alarm = false;
  static bool     running    = false;
  static uint32_t start_tick = 0U;

  uint32_t now = HAL_GetTick();

  if (alarm_active && !prev_alarm) {
    start_tick = now;
    running    = true;
  }
  prev_alarm = alarm_active;

  if (!running) {
    Buzzer_Set(false);
    return;
  }

  uint32_t elapsed = now - start_tick;
  if (elapsed >= BUZZER_SEQUENCE_MS) {
    running = false;
    Buzzer_Set(false);
    return;
  }

  Buzzer_Set((elapsed % BUZZER_CYCLE_MS) < BUZZER_ON_MS);
}

void Fan_Control(void)
{
    if (temperature_max >= FAN_TEMP_ON_THRESHOLD) {
        HAL_GPIO_WritePin(Fan_Control_GPIO_Port, Fan_Control_Pin, GPIO_PIN_SET);
    } else {
        HAL_GPIO_WritePin(Fan_Control_GPIO_Port, Fan_Control_Pin, GPIO_PIN_RESET);
    }
}

/* Read PA4 raw ADC value from DMA buffer and compute millivolts for debug */
void Current_Sensor_Calc(void)
{
  uint32_t raw = (uint32_t)ADC_RawData[4];
  debug_current_adc_raw = (uint16_t)raw;

  /* 50-sample moving average (circular buffer). 50 is not a power of two,
   * so use explicit modulo handling instead of bitmask.
   */
  enum { AVG_N = 50 };
  static uint16_t buf[AVG_N] = {0};
  static uint32_t sum = 0;
  static uint16_t idx = 0;
  static uint16_t count = 0;

  /* If buffer not yet full, append; otherwise replace oldest sample. */
  if (count < AVG_N) {
    buf[idx] = (uint16_t)raw;
    sum += buf[idx];
    idx++;
    count++;
    if (idx >= AVG_N) idx = 0;
  } else {
    /* full buffer: remove oldest, insert new */
    sum -= buf[idx];
    buf[idx] = (uint16_t)raw;
    sum += buf[idx];
    idx++;
    if (idx >= AVG_N) idx = 0;
  }

  uint32_t avg_adc = (count == 0) ? 0U : (sum / count);

  uint32_t mv = (uint32_t)(((uint64_t)avg_adc * (uint64_t)VREF_MV + (ADC_MAX_VALUE/2U)) / (uint64_t)ADC_MAX_VALUE);
  /* Apply runtime offset so measured mV can be corrected to a reference value. */
  int32_t mv_signed = (int32_t)mv + debug_current_adc_mv_offset;
  debug_current_adc_mv = mv_signed;
}

/* Set the calibration offset directly (mv). Use from debugger or via a command
 * to apply a fixed correction: debug_current_adc_mv_offset = offset_mv; */
void Set_Current_ADC_MV_Offset(int32_t offset_mv)
{
    debug_current_adc_mv_offset = offset_mv;
}

/* Calibrate using an observed true voltage (in mV). This computes offset = true - measured
 * and stores it in debug_current_adc_mv_offset so subsequent readings are corrected.
 * Call this once after observing `debug_current_adc_mv` and measuring the true mV. */
void Calibrate_Current_ADC_MV(uint32_t actual_mv)
{
    int32_t measured = debug_current_adc_mv;
    debug_current_adc_mv_offset = (int32_t)actual_mv - measured;
}

/*
 * Auto-calibrate the zero point for the current sensor by sampling
 * `CURRENT_CALIB_SAMPLES` values and storing the average into
 * `current_zero_mv`. This should be called after ADC DMA start.
 */
void CurrentSensor_AutoCalibrate(void)
{
  int64_t sum = 0;
  for (int i = 0; i < CURRENT_CALIB_SAMPLES; ++i) {
    /* allow DMA and averaging to update
     * small delay keeps CPU idle and lets Current_Sensor_Calc accumulate
     */
    HAL_Delay(2);
    Current_Sensor_Calc();
    sum += (int32_t)debug_current_adc_mv;
  }
  current_zero_mv = (int32_t)(sum / CURRENT_CALIB_SAMPLES);
}

/* Return current in amperes (float). Applies deadband around zero. */
float CurrentSensor_GetAmps(void)
{
  int32_t mv = debug_current_adc_mv;
  float diff_v = (float)(mv - current_zero_mv); /* mV */
  float amps = diff_v / (CURRENT_SENSOR_SENS_V_PER_A * 1000.0f);
  if (amps > -CURRENT_SENSOR_DEADBAND_A && amps < CURRENT_SENSOR_DEADBAND_A) return 0.0f;
  return amps;
}

/* Return current in milliamperes (rounded to nearest mA). */
int32_t CurrentSensor_Get_mA(void)
{
  float a = CurrentSensor_GetAmps();
  int32_t ma = (int32_t)(a * 1000.0f);
  return ma;
}

/* Compute SOC from average per-cell voltage using a simple linear OCV map.
 * Returns tenths of percent (0 -> 0.0%, 1000 -> 100.0%).
 */
uint16_t Compute_SOC_TenthsPercent(void)
{
    uint32_t sum = 0;
    uint16_t count = 0;

    for (int i = 0; i < TOTAL_CELLS; ++i) {
        uint16_t v = all_cell_voltage_mV[i];
        if (v < 500) continue; /* ignore invalid/disconnected cells */
        sum += v;
        ++count;
    }

    if (count == 0) return 0U;

    uint32_t avg_cell_mv = sum / count;

    /* Clamp to OCV range */
    if (avg_cell_mv <= SOC_OCV_MIN_MV_PER_CELL) return 0U;
    if (avg_cell_mv >= SOC_OCV_MAX_MV_PER_CELL) return 1000U;

    /* Linear mapping to tenths-percent: (avg - min) / (max - min) * 1000 */
    uint32_t numerator = (avg_cell_mv - SOC_OCV_MIN_MV_PER_CELL) * 1000U;
    uint32_t denom = (SOC_OCV_MAX_MV_PER_CELL - SOC_OCV_MIN_MV_PER_CELL);
    uint16_t soc_tenths = (uint16_t)(numerator / denom);
    return soc_tenths;
}

void Button_Handle (void) {
	static uint32_t debounce_time = 0;
	if (HAL_GetTick() - debounce_time < 200) return;

    if (Digital_In.ButtonRight && !Button_Right_Old) {
        lcd_page = (lcd_page + 1) % LCD_PAGE_MAX;
        lcd_update_flag = 1;
    }

    if (Digital_In.ButtonLeft && !Button_Left_Old) {
        lcd_page = (lcd_page == 0) ? LCD_PAGE_MAX - 1 : lcd_page - 1;
        lcd_update_flag = 1;
    }

    Button_Right_Old = Digital_In.ButtonRight;
    Button_Left_Old  = Digital_In.ButtonLeft;

    debounce_time = HAL_GetTick();
}
uint16_t map(uint16_t x, uint16_t in_min, uint16_t in_max, uint16_t out_min, uint16_t out_max) {
    if (in_max <= in_min) return out_min;

    uint32_t numerator = (uint32_t)(x - in_min) * (out_max - out_min);
    uint32_t denominator = (in_max - in_min);

    return (uint16_t)(numerator / denominator + out_min);
}
void LCD_Page1(void)
{
  char DataLCD[48];

    uint32_t Vtot_mV = 0;
    uint16_t Vmin_mV = 0xFFFF;
    uint16_t Vmax_mV = 0;
    uint16_t active_count = 0;

    for (uint8_t i = 0; i < TOTAL_CELLS; i++)
    {
      uint16_t v = all_cell_voltage_mV[i];
      if (v < 500) continue; /* ignore disconnected or invalid cells */
      Vtot_mV += v;
      if (v > Vmax_mV) Vmax_mV = v;
      if (v < Vmin_mV) Vmin_mV = v;
      active_count++;
    }

    if (active_count == 0) {
      Vmin_mV = 0;
      Vmax_mV = 0;
    }

    sprintf(DataLCD, "Vtot:%6lumV ", (unsigned long)Vtot_mV);
    lcd_send_cmd(0x80|0x00);
    lcd_send_string(DataLCD);

    {
      /* Display measured current (one decimal) and temperature (one decimal C) */
      int32_t cur_mA = CurrentSensor_Get_mA();
      int32_t abs_mA = (cur_mA < 0) ? -cur_mA : cur_mA;
      char sign = (cur_mA < 0) ? '-' : ' ';
      int cur_whole = (int)(abs_mA / 1000);
      int cur_tenth = (int)((abs_mA % 1000) / 100);

      int32_t temp_tenths = (int32_t)temperature_max_tenths;
      char temp_sign = (temp_tenths < 0) ? '-' : ' ';
      int32_t temp_abs = (temp_tenths < 0) ? -temp_tenths : temp_tenths;
      int temp_whole = (int)(temp_abs / 10);
      int temp_tenth = (int)(temp_abs % 10);

      snprintf(DataLCD, sizeof(DataLCD), "I:%c%1d.%1dA T:%c%1d.%1d%cC  ", sign, cur_whole, cur_tenth, temp_sign, temp_whole, temp_tenth, 0xDF);
    }
    lcd_send_cmd(0x80|0x40);
    lcd_send_string(DataLCD);

    /* Display Vmin and delta (Dv = Vmax - Vmin) on same line */
    unsigned long dv = (unsigned long)((Vmax_mV >= Vmin_mV) ? (Vmax_mV - Vmin_mV) : 0U);
    /* Keep total line length <=20: use 4 digits for Vmin and 3 for Dv */
    sprintf(DataLCD, "Vmin:%4lumV Dv:%3lumV", (unsigned long)Vmin_mV, dv);
    lcd_send_cmd(0x80|0x14);
    lcd_send_string(DataLCD);

    /* Show Vmax and SOC (one decimal) on the last line; compact to fit 20 chars */
    uint16_t soc_tenths_line = Compute_SOC_TenthsPercent();
    int soc_whole_line = soc_tenths_line / 10;
    int soc_tenth_line = soc_tenths_line % 10;
    sprintf(DataLCD, "Vmax:%4lumV S:%3d.%1d%%", (unsigned long)Vmax_mV, soc_whole_line, soc_tenth_line);
    LCD_WriteLine(0x54, DataLCD);
}

void LCD_Page2(void)
{
    char buf[21];
    sprintf(buf, "C1:%4d C2:%4d", all_cell_voltage_mV[0], all_cell_voltage_mV[1]);
    LCD_WriteLine(0x00, buf);

    sprintf(buf, "C3:%4d C4:%4d", all_cell_voltage_mV[2], all_cell_voltage_mV[3]);
    LCD_WriteLine(0x40, buf);

    sprintf(buf, "C5:%4d C6:%4d", all_cell_voltage_mV[4], all_cell_voltage_mV[5]);
    LCD_WriteLine(0x14, buf);

    sprintf(buf, "C7:%4d C8:%4d", all_cell_voltage_mV[6], all_cell_voltage_mV[7]);
    LCD_WriteLine(0x54, buf);
}

void LCD_Page3(void)
{
    char buf[21];
    sprintf(buf, "C9:%4d C10:%4d", all_cell_voltage_mV[8], all_cell_voltage_mV[9]);
    LCD_WriteLine(0x00, buf);

    sprintf(buf, "C11:%4d C12:%4d", all_cell_voltage_mV[10], all_cell_voltage_mV[11]);
    LCD_WriteLine(0x40, buf);

    sprintf(buf, "C13:%4d C14:%4d", all_cell_voltage_mV[12], all_cell_voltage_mV[13]);
    LCD_WriteLine(0x14, buf);

    sprintf(buf, "C15:%4d", all_cell_voltage_mV[14]);
    LCD_WriteLine(0x54, buf);
}
void LCD_Page4 (void) {
    char buf[21];

    // Dòng 1
    sprintf(buf, "Balancing: %s     ", Digital_In.SW_Balancing ? "ON " : "OFF");
    lcd_send_cmd(0x80|0x00);
    lcd_send_string(buf);

    // Dòng 2
    sprintf(buf, "Monitor UART: %s   ", Digital_In.SW_UART ? "ON " : "OFF");
    lcd_send_cmd(0x80|0x40);
    lcd_send_string(buf);

    // Dòng 3
    sprintf(buf, "Load:      %s     ", Digital_In.SW_Load ? "ON " : "OFF");
    lcd_send_cmd(0x80|0x14);
    lcd_send_string(buf);

    // Dòng 4 - clear
    sprintf(buf, "                ");
    lcd_send_cmd(0x80|0x54);
    lcd_send_string(buf);
}
void LCD_PageSetting (void) {
    char buf[21];

    static uint16_t last_ichg = 0xFFFF;
    static uint16_t last_vdis = 0xFFFF;
    static uint16_t last_vchg = 0xFFFF;
    static uint16_t last_idis = 0xFFFF;

    /* Use filtered ADC values to reduce jitter while keeping responsiveness */
    uint16_t Ichg = map(filtered_adc_ichg, 0, ADC_MAX_VALUE, 0, ICHG_MAX_MA);
    uint16_t Vdis = map(filtered_adc_vdis, 0, ADC_MAX_VALUE, 0, VDIS_MAX_MV);
    uint16_t Vchg = map(filtered_adc_vchg, 0, ADC_MAX_VALUE, 0, VCHG_MAX_MV);
    uint16_t Idis = map(filtered_adc_idis, 0, ADC_MAX_VALUE, 0, IDIS_MAX_MA);

    if (Ichg != last_ichg) {
        last_ichg = Ichg;
        sprintf(buf, "Ichg_max:%4dmA    ", Ichg);
        lcd_send_cmd(0x80|0x00);
        lcd_send_string(buf);
    }

    if (Vdis != last_vdis) {
        last_vdis = Vdis;
        sprintf(buf, "Vdis_min:%4dmV    ", Vdis);
        lcd_send_cmd(0x80|0x40);
        lcd_send_string(buf);
    }

    if (Vchg != last_vchg) {
        last_vchg = Vchg;
        sprintf(buf, "Vchg_max:%4dmV    ", Vchg);
        lcd_send_cmd(0x80|0x14);
        lcd_send_string(buf);
    }

    if (Idis != last_idis) {
        last_idis = Idis;
        sprintf(buf, "Idis_max:%5dmA    ", Idis);
        lcd_send_cmd(0x80|0x54);
        lcd_send_string(buf);
    }
}
void LCD_Update () {
    static uint8_t last_page = LCD_PAGE_MAX;
    static uint8_t last_setting = 0;

    /* The main loop schedules setting refreshes at 100 ms to avoid blocking I2C writes. */
    // Force update setting mode HOẶC khi có flag
    if (!lcd_update_flag && last_setting == Digital_In.SW_LCDMode) {
        // Trong setting mode, vẫn cần update liên tục để refresh ADC
        if (Digital_In.SW_LCDMode) return;  // Skip check flag khi ở setting
    }
    lcd_update_flag = 0;

    // Xử lý chuyển setting mode
    if (Digital_In.SW_LCDMode != last_setting) {
        lcd_clear();
        HAL_Delay(10);
        last_setting = Digital_In.SW_LCDMode;
        last_page = LCD_PAGE_MAX;
    }

    // Setting mode - Luôn update
    if (Digital_In.SW_LCDMode) {
        LCD_PageSetting();
        return;
    }

    // Normal page mode - Chỉ update khi đổi page
    if (last_page != lcd_page) {
        lcd_clear();
        HAL_Delay(10);
        last_page = lcd_page;
    }

    switch (lcd_page) {
        case LCD_PAGE_1: LCD_Page1(); break;
        case LCD_PAGE_2: LCD_Page2(); break;
        case LCD_PAGE_3: LCD_Page3(); break;
        case LCD_PAGE_4: LCD_Page4(); break;
    }
}

/* Send CSV telemetry:
 * total,SOC,current,temp,Vmin,Vmax,deltaV,swSetting,swLoad,swBal,cell1..cell15,swUART */
void Send_Cells_UART(void)
{
  /* Only send telemetry when UART switch is enabled */
  if (!Digital_In.SW_UART) {
    uart_tx_debug_len = 0;
    return;
  }
  int len = 0;

  /* Compute total, min, max using the same rules as LCD (ignore cells < 500 mV) */
  int32_t total_mV = 0;
  int32_t min_mV = 0;
  int32_t max_mV = 0;
  uint16_t active_count = 0;
  for (int i = 0; i < TOTAL_CELLS_COUNT; i++) {
    int32_t v = (int32_t)all_cell_voltage_mV[i];
    if (v < 500) continue; /* ignore disconnected/invalid cells */
    if (active_count == 0) { min_mV = max_mV = v; }
    if (v < min_mV) min_mV = v;
    if (v > max_mV) max_mV = v;
    total_mV += v;
    active_count++;
  }
  if (active_count == 0) {
    min_mV = 0;
    max_mV = 0;
    total_mV = 0;
  }
  uint32_t deltaV = (uint32_t)(max_mV >= min_mV ? (uint32_t)(max_mV - min_mV) : 0U);

  /* SOC and current unavailable -> set to 0 as requested */
  /* Compute SOC in tenths of percent for UART (UART monitor will divide by 10) */
  uint16_t soc = Compute_SOC_TenthsPercent();
  int32_t current_mA = CurrentSensor_Get_mA();

  /* Temperature: send as tenths (one decimal) encoded as 3-digit integer (e.g. 25.3 -> 253) */
  int32_t temp_tenths = (int32_t)temperature_max_tenths; /* tenths of °C */

  /* Switch states: 0 = off, 1 = on */
  uint8_t swSetting = (uint8_t)(Digital_In.SW_LCDMode ? 1U : 0U);
  uint8_t swLoad = (uint8_t)(Digital_In.SW_Load ? 1U : 0U);
  uint8_t swBal = (uint8_t)(Digital_In.SW_Balancing ? 1U : 0U);

  /* Build CSV header fields */
    len += snprintf(uart_tx_debug_buf + len, sizeof(uart_tx_debug_buf) - len,
      "%ld,%u,%ld,%03d,%ld,%ld,%lu,%u,%u,%u,",
      (long)total_mV, (unsigned)soc, (long)current_mA, (int)temp_tenths,
      (long)min_mV, (long)max_mV, (unsigned long)deltaV,
      (unsigned)swSetting, (unsigned)swLoad, (unsigned)swBal);

  /* Append cell voltages (mV) */
  for (int i = 0; i < TOTAL_CELLS_COUNT; i++) {
    uint32_t mv = (uint32_t)all_cell_voltage_mV[i];
    if (i < TOTAL_CELLS_COUNT - 1) {
      len += snprintf(uart_tx_debug_buf + len, sizeof(uart_tx_debug_buf) - len, "%lu,", (unsigned long)mv);
    } else {
      len += snprintf(uart_tx_debug_buf + len, sizeof(uart_tx_debug_buf) - len, "%lu", (unsigned long)mv);
    }
    if (len >= (int)sizeof(uart_tx_debug_buf) - 16) break; /* guard */
  }

  /* Append SW_UART state as trailing field (0 = OFF, 1 = ON) so the
   * monitor can confirm switch sensing independently of the gate above. */
  len += snprintf(uart_tx_debug_buf + len, sizeof(uart_tx_debug_buf) - len,
                  ",%u", (unsigned)(Digital_In.SW_UART ? 1U : 0U));

  /* Terminate with newline */
  if (len < (int)sizeof(uart_tx_debug_buf) - 2) uart_tx_debug_buf[len++] = '\n';

  if (len > 0) {
    uart_tx_debug_len = (uint16_t)len;
    if (HAL_UART_GetState(&huart1) == HAL_UART_STATE_READY) {
      HAL_UART_Transmit_IT(&huart1, (uint8_t *)uart_tx_debug_buf, uart_tx_debug_len);
    }
  } else {
    uart_tx_debug_len = 0;
  }
}
/* USER CODE END 4 */

void Error_Handler(void)
{
  __disable_irq();
  while (1)
  {
  }
}
